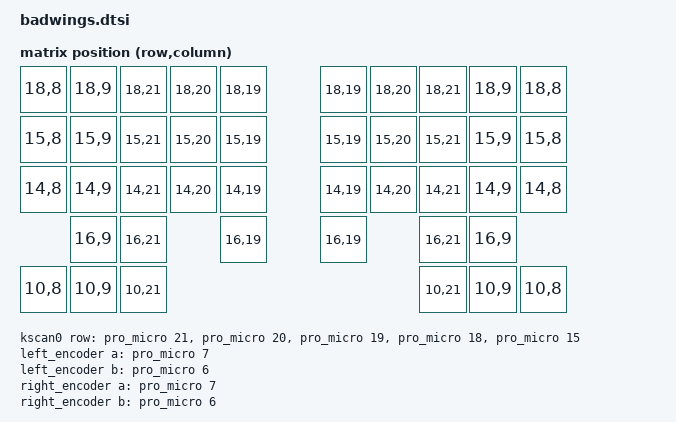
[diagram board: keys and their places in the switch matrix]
#include <dt-bindings/zmk/matrix_transform.h>

/ {
    chosen {
        zmk,kscan = &kscan0;
        zmk,matrix_transform = &default_transform;
    };

    default_transform: keymap_transform_0 {
        compatible = "zmk,matrix-transform";
        columns = <10>;
        rows = <4>;
// | SW5  | SW4  | SW3  | SW2  | SW1  |                 | SW1  | SW2  | SW3  | SW4  | SW5  |
// | SW10 | SW9  | SW8  | SW7  | SW6  |                 | SW6  | SW7  | SW8  | SW9  | SW10 |
// | SW15 | SW14 | SW13 | SW12 | SW11 |                 | SW11 | SW12 | SW13 | SW14 | SW15 |
//        | SW18 | SW17 |      | SW16 |                 | SW16 |      | SW17 | SW18 |
// | SW21 | SW20 | SW19 |                                             | SW19 | SW29 | SW21 |

        map = <
RC(18,8) RC(18,9) RC(18,21) RC(18,20) RC(18,19)           RC(18,19) RC(18,20) RC(18,21) RC(18,9) RC(18,8)
RC(15,8) RC(15,9) RC(15,21) RC(15,20) RC(15,19)           RC(15,19) RC(15,20) RC(15,21) RC(15,9) RC(15,8)
RC(14,8) RC(14,9) RC(14,21) RC(14,20) RC(14,19)           RC(14,19) RC(14,20) RC(14,21) RC(14,9) RC(14,8)
         RC(16,9) RC(16,21)           RC(16,19)           RC(16,19)           RC(16,21) RC(16,9)
RC(10,8) RC(10,9) RC(10,21)                                                   RC(10,21) RC(10,9) RC(10,8)
        >;
    };

    kscan0: kscan {
        compatible = "zmk,kscan-gpio-matrix";
        wakeup-source;
        diode-direction = "col2row";
        row-gpios
            = <&pro_micro 21 (GPIO_ACTIVE_HIGH | GPIO_PULL_DOWN)> // Row A from the schematic file
            , <&pro_micro 20 (GPIO_ACTIVE_HIGH | GPIO_PULL_DOWN)> // Row B from the schematic file
            , <&pro_micro 19 (GPIO_ACTIVE_HIGH | GPIO_PULL_DOWN)> // Row C from the schematic file
            , <&pro_micro 18 (GPIO_ACTIVE_HIGH | GPIO_PULL_DOWN)> // Row D from the schematic file
            , <&pro_micro 15 (GPIO_ACTIVE_HIGH | GPIO_PULL_DOWN)> // Row E from the schematic file
            ;

    };

    left_encoder: encoder_left {
        compatible = "alps, ec11";
        a-gpios = <&pro_micro 7 (GPIO_ACTIVE_HIGH | GPIO_PULL_DOWN)>;
        b-gpios = <&pro_micro 6 (GPIO_ACTIVE_HIGH | GPIO_PULL_DOWN)>;
        steps = <80>;
    };

    sensors: sensors {
        compatible = "zmk, keymap-sensors";
        sensors = <&left_encoder>;
        triggers-per-rotation = <20>;
    };

    right_encoder: encoder_right {
        compatible = "alps, ec11";
        a-gpios = <&pro_micro 7 (GPIO_ACTIVE_HIGH | GPIO_PULL_DOWN)>;
        b-gpios = <&pro_micro 6 (GPIO_ACTIVE_HIGH | GPIO_PULL_DOWN)>;
        steps = <80>;
    };

    sensors: sensors {
        compatible = "zmk, keymap-sensors";
        sensors = <&right_encoder>;
        triggers-per-rotation = <20>;
    };
};
